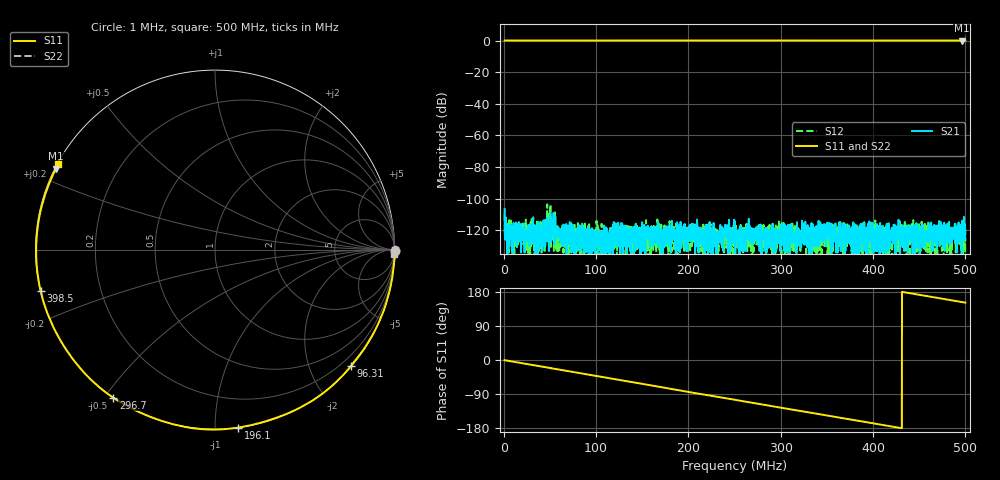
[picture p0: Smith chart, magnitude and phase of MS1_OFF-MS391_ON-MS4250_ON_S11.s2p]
! MS46122B
! 1746301/73750021
! 11/3/2023 2:44:04 PM
! C:\USERS\SPEGWAL\DOWNLOADS\SAURABH\REACH\NODES\FRONT END\MEASUREMENTS\MEASURED S-PARAMETERS_03-11-2023\MS3-MS4_MS1_CABLE\MS1_OFF-MS391_ON-MS4250_ON_S11.S2P
! CHANNEL.1
! TR.MEASUREMENT
! CORRECTED.DATA
# GHZ S RI R 50.0
! FREQ.GHZ  S11RE  S11IM  S21RE  S21IM  S12RE  S12IM  S22RE  S22IM
!; PortSelection: Port_12
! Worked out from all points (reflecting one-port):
!   2001 points, 1 MHz to 500 MHz, reference 50 ohm
!   lowest |S11| = -0.1 dB at 496 MHz (marker M1), VSWR 317.83, Z = 0.166 + j12 ohm
!   phase of S11 starts at -1 deg and turns -208 deg over the sweep
!   S11 on the Smith chart (normalised r, x): 1 MHz: open; 96.31 MHz: 0.01, -2.70; 196.1 MHz: 0.00, -1.14; 296.7 MHz: -0.00, -0.53; 398.5 MHz: 0.00, -0.12; 500 MHz: 0.00, +0.26
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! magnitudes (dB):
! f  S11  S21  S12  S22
! 1 MHz  0.0  -106.5  -109.9  0.0
! 4.742 MHz  0.0  -118.6  -115.8  0.0
! 10.98 MHz  0.0  -123.0  -133.0  0.0
! 33.93 MHz  0.0  -122.1  -130.5  0.0
! 84.33 MHz  0.0  -127.7  -140.0  0.0
! 91.57 MHz  0.0  -118.0  -133.0  0.0
! 96.31 MHz  0.0  -133.0  -122.8  0.0
! 112.8 MHz  0.0  -134.0  -128.9  0.0
! 128.5 MHz  0.0  -118.0  -122.8  0.0
! 167.4 MHz  0.0  -116.6  -114.9  0.0
! 196.1 MHz  0.0  -130.5  -120.9  0.0
! 224.3 MHz  0.0  -120.9  -125.4  0.0
! 250.5 MHz  0.0  -118.3  -126.0  0.0
! 272.2 MHz  0.0  -121.4  -120.5  0.0
! 296.7 MHz  0.0  -119.6  -122.8  0.0
! 313.9 MHz  0.0  -127.7  -121.7  0.0
! 333.8 MHz  0.0  -118.7  -122.8  0.0
! 361.5 MHz  0.0  -134.0  -118.0  0.0
! 398.5 MHz  0.0  -115.2  -124.4  0.0
! 416.9 MHz  0.0  -118.0  -119.4  0.0
! 496 MHz  -0.1  -140.0  -121.3  0.0
! 500 MHz  -0.1  -120.0  -124.4  0.0
